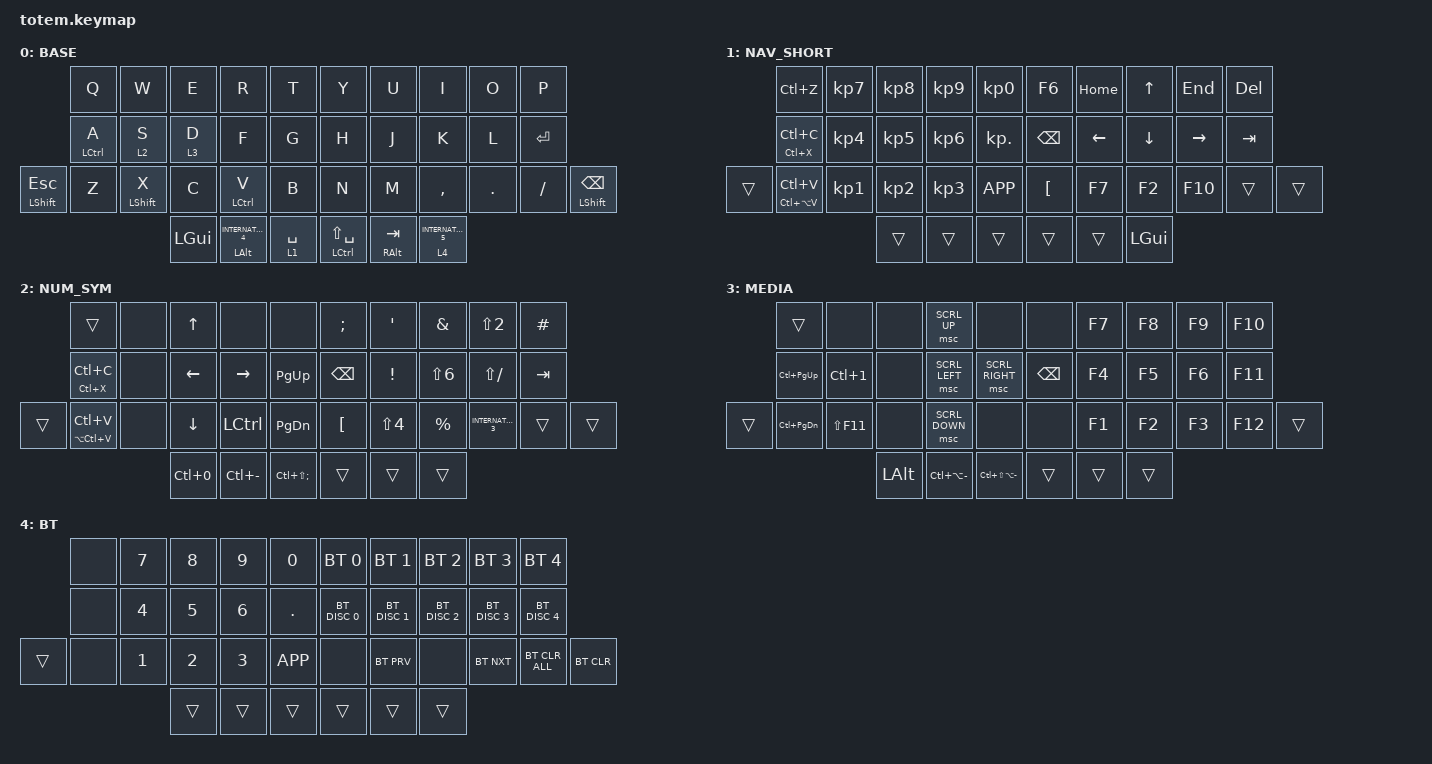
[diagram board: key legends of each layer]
//
//                                                        ▀▀▀▀▀     ▀▀▀▀▀          ▀▀█▀▀
//                                                        ▄▀▀▀▄  ▄  ▄▀▀▀▄  ▄  ▄▀▀▀▄  █  ▄▀▀▀▄
//                                                        █   █  █  █   █  █  █   █  █  █   █
//                                                         ▀▀▀   █   ▀▀▀   █   ▀▀▀   ▀   ▀▀▀
//                                                               █      ▄▄▄█▄▄▄    █   █  
//                                                               ▀      █  █  █     █▄█
//                                                             ▀▀▀▀▀    █  █  █      ▀
//                                                                      ▀  ▀  ▀
//
// ▄▄▄▄▄▄▄▄▄▄▄▄▄▄▄▄▄▄▄▄▄▄▄▄▄▄▄▄▄▄▄▄▄▄▄▄▄▄▄▄▄▄▄▄▄▄▄▄▄▄▄▄▄▄▄▄▄▄▄▄▄▄▄▄▄▄▄▄▄▄▄▄▄▄▄▄▄▄▄▄▄▄▄▄▄▄▄▄▄▄▄▄▄▄▄▄▄▄▄▄▄▄▄▄▄▄▄▄▄▄▄▄▄▄▄▄▄▄▄▄▄▄▄▄▄▄▄▄▄▄▄▄▄▄▄▄▄▄▄▄▄▄▄▄▄▄▄▄▄

#include <behaviors/rgbled_widget.dtsi>
#include <behaviors.dtsi>
#include <dt-bindings/zmk/bt.h>
#include <dt-bindings/zmk/keys.h>
#include <dt-bindings/zmk/pointing.h>

#define BASE 0
#define NAV  1
#define SYM  2
#define ADJ  3
#define TVP1 4
#define TVP2 5

&mt {
    quick-tap-ms = <100>;
    global-quick-tap;
    flavor = "tap-preferred";
    tapping-term-ms = <170>;
};

/ {
    combos {
        compatible = "zmk,combos";

        tab {
            bindings = <&kp TAB>;
            key-positions = <12 13>;
        };

        shifttab {
            bindings = <&kp LS(TAB)>;
            key-positions = <12 11>;
        };

        leftkakko {
            bindings = <&kp LS(N8)>;
            key-positions = <11 13>;
        };

        rightkakko {
            bindings = <&kp LS(N9)>;
            key-positions = <16 18>;
        };

        leftkakkojp {
            bindings = <&kp RBKT>;
            key-positions = <11 13 12>;
        };

        rightkakkojp {
            bindings = <&kp BSLH>;
            key-positions = <16 18 17>;
        };

        minus {
            bindings = <&kp MINUS>;
            key-positions = <16 17>;
        };

        plus {
            bindings = <&kp LS(SEMI)>;
            key-positions = <17 18>;
        };

        eq {
            bindings = <&kp LS(MINUS)>;
            key-positions = <7 6>;
        };

        asta {
            bindings = <&kp LS(SQT)>;
            key-positions = <7 8>;
        };

        underbar {
            bindings = <&kp LS(INTERNATIONAL_1)>;
            key-positions = <27 28>;
        };

        lang1 {
            bindings = <&kp LANG1>;
            key-positions = <35 16>;
        };

        lang2 {
            bindings = <&kp LANGUAGE_2>;
            key-positions = <35 15>;
        };
    };

    keymap {
        compatible = "zmk,keymap";

        // ▄▄▄▄▄▄▄▄▄▄▄▄▄▄▄▄▄▄▄▄▄▄▄▄▄▄▄▄▄▄▄▄▄▄▄▄▄▄▄▄▄▄▄▄▄▄▄▄▄▄▄▄▄▄▄▄▄▄▄▄▄▄▄▄▄▄▄▄▄▄▄▄▄▄▄▄▄▄▄▄▄▄▄▄▄▄▄▄▄▄▄▄▄▄▄▄▄▄▄▄▄▄▄▄▄▄▄▄▄▄▄▄▄▄▄▄▄▄▄▄▄▄▄▄▄▄▄▄▄▄▄▄▄▄▄▄▄▄▄▄▄▄▄▄▄▄▄▄▄

        base_layer {
            // ┏━━━━━━━━━━━━━━━━━━━━━━━━━━━━━━━━━━━━━━━┓

            label = "BASE";

            // ┗━━━━━━━━━━━━━━━━━━━━━━━━━━━━━━━━━━━━━━━┛
            //             ┏━━━━━━━━━━━┳━━━━━━━━━━━┳━━━━━━━━━━━┳━━━━━━━━━━━┳━━━━━━━━━━━┓   ┏━━━━━━━━━━━┳━━━━━━━━━━━┳━━━━━━━━━━━┳━━━━━━━━━━━┳━━━━━━━━━━━┓
            //             ┃     Q     ┃     W     ┃     F     ┃     P     ┃     B     ┃   ┃     J     ┃     L     ┃     U     ┃     Y     ┃     ;     ┃
            //             ┣━━━━━━━━━━━╋━━━━━━━━━━━╋━━━━━━━━━━━╋━━━━━━━━━━━╋━━━━━━━━━━━┫   ┣━━━━━━━━━━━╋━━━━━━━━━━━╋━━━━━━━━━━━╋━━━━━━━━━━━╋━━━━━━━━━━━┫
            //             ┃     A     ┃     R     ┃     S     ┃     T     ┃     G     ┃   ┃     M     ┃     N     ┃     E     ┃     I     ┃     O     ┃
            // ┏━━━━━━━━━━━╋━━━━━━━━━━━╋━━━━━━━━━━━╋━━━━━━━━━━━╋━━━━━━━━━━━╋━━━━━━━━━━━┫   ┣━━━━━━━━━━━╋━━━━━━━━━━━╋━━━━━━━━━━━╋━━━━━━━━━━━╋━━━━━━━━━━━╋━━━━━━━━━━━┓
            // ┃   BSPC    ┃     Z     ┃     X     ┃     C     ┃     D     ┃     V     ┃   ┃     K     ┃     M     ┃     ,     ┃     .     ┃     /     ┃     '     ┃
            // ┗━━━━━━━━━━━┻━━━━━━━━━━━┻━━━━━━━━━━━╋━━━━━━━━━━━╋━━━━━━━━━━━╋━━━━━━━━━━━┫   ┣━━━━━━━━━━━╋━━━━━━━━━━━╋━━━━━━━━━━━╋━━━━━━━━━━━┻━━━━━━━━━━━┻━━━━━━━━━━━┛
            //                                     ┃   BSPC    ┃    TAB    ┃    DEL    ┃   ┃   BSPC    ┃    SPC    ┃   ENTER   ┃
            //                                     ┗━━━━━━━━━━━┻━━━━━━━━━━━┻━━━━━━━━━━━┛   ┗━━━━━━━━━━━┻━━━━━━━━━━━┻━━━━━━━━━━━┛

            bindings = <
               &kp Q        &kp W        &kp E     &kp R                     &kp T          &kp Y                &kp U         &kp I                  &kp O    &kp P
               &mt LCTRL A  &lt 2 S      &lt 3 D   &kp F                     &kp G          &kp H                &kp J         &kp K                  &kp L    &kp ENTER
&mt LSHFT ESC  &kp Z        &mt LSHFT X  &kp C     &mt LCTRL V               &kp B          &kp N                &kp M         &kp COMMA              &kp DOT  &kp FSLH   &mt LSHFT BACKSPACE
                                         &kp LGUI  &mt LALT INTERNATIONAL_4  &lt 1 SPACE    &mt LCTRL LS(SPACE)  &mt RALT TAB  &lt 4 INTERNATIONAL_5
            >;
        };

        // ▄▄▄▄▄▄▄▄▄▄▄▄▄▄▄▄▄▄▄▄▄▄▄▄▄▄▄▄▄▄▄▄▄▄▄▄▄▄▄▄▄▄▄▄▄▄▄▄▄▄▄▄▄▄▄▄▄▄▄▄▄▄▄▄▄▄▄▄▄▄▄▄▄▄▄▄▄▄▄▄▄▄▄▄▄▄▄▄▄▄▄▄▄▄▄▄▄▄▄▄▄▄▄▄▄▄▄▄▄▄▄▄▄▄▄▄▄▄▄▄▄▄▄▄▄▄▄▄▄▄▄▄▄▄▄▄▄▄▄▄▄▄▄▄▄▄▄▄▄

        nav_short_layer {
            // ┏━━━━━━━━━━━━━━━━━━━━━━━━━━━━━━━━━━━━━━━┓

            label = "NAV_SHORT";

            // ┗━━━━━━━━━━━━━━━━━━━━━━━━━━━━━━━━━━━━━━━┛
            //             ┏━━━━━━━━━━━┳━━━━━━━━━━━┳━━━━━━━━━━━┳━━━━━━━━━━━┳━━━━━━━━━━━┓   ┏━━━━━━━━━━━┳━━━━━━━━━━━┳━━━━━━━━━━━┳━━━━━━━━━━━┳━━━━━━━━━━━┓
            //             ┃           ┃           ┃     UP    ┃           ┃     {     ┃   ┃     }     ┃     7     ┃     8     ┃     9     ┃     +     ┃
            //             ┣━━━━━━━━━━━╋━━━━━━━━━━━╋━━━━━━━━━━━╋━━━━━━━━━━━╋━━━━━━━━━━━┫   ┣━━━━━━━━━━━╋━━━━━━━━━━━╋━━━━━━━━━━━╋━━━━━━━━━━━╋━━━━━━━━━━━┫
            //             ┃   SHIFT   ┃   LEFT    ┃    DOWN   ┃   RIGHT   ┃     [     ┃   ┃     ]     ┃     4     ┃     5     ┃     6     ┃     -     ┃
            // ┏━━━━━━━━━━━╋━━━━━━━━━━━╋━━━━━━━━━━━╋━━━━━━━━━━━╋━━━━━━━━━━━╋━━━━━━━━━━━┫   ┣━━━━━━━━━━━╋━━━━━━━━━━━╋━━━━━━━━━━━╋━━━━━━━━━━━╋━━━━━━━━━━━╋━━━━━━━━━━━┓
            // ┃           ┃           ┃   P UP    ┃  C LOCK   ┃  P DOWN   ┃     (     ┃   ┃     )     ┃     1     ┃     2     ┃     3     ┃     *     ┃           ┃
            // ┗━━━━━━━━━━━┻━━━━━━━━━━━┻━━━━━━━━━━━╋━━━━━━━━━━━╋━━━━━━━━━━━╋━━━━━━━━━━━┫   ┣━━━━━━━━━━━╋━━━━━━━━━━━╋━━━━━━━━━━━╋━━━━━━━━━━━┻━━━━━━━━━━━┻━━━━━━━━━━━┛
            //                                     ┃           ┃    TAB    ┃    SPC    ┃   ┃    DEL    ┃     0     ┃           ┃
            //                                     ┗━━━━━━━━━━━┻━━━━━━━━━━━┻━━━━━━━━━━━┛   ┗━━━━━━━━━━━┻━━━━━━━━━━━┻━━━━━━━━━━━┛

            bindings = <
        &kp LC(Z)            &kp KP_NUMBER_7  &kp KP_NUMBER_8  &kp KP_NUMBER_9  &kp KP_NUMBER_0    &kp F6            &kp HOME        &kp UP_ARROW    &kp END          &kp DEL
        &mt LC(X) LC(C)      &kp KP_NUMBER_4  &kp KP_NUMBER_5  &kp KP_NUMBER_6  &kp KP_DOT         &kp BACKSPACE     &kp LEFT_ARROW  &kp DOWN_ARROW  &kp RIGHT_ARROW  &kp TAB
&trans  &mt LC(LA(V)) LC(V)  &kp KP_NUMBER_1  &kp KP_NUMBER_2  &kp KP_NUMBER_3  &kp K_APP          &kp LEFT_BRACKET  &kp F7          &kp F2          &kp F10          &trans   &trans
                                              &trans           &trans           &trans             &trans            &trans          &kp LEFT_GUI
            >;
        };

        // ▄▄▄▄▄▄▄▄▄▄▄▄▄▄▄▄▄▄▄▄▄▄▄▄▄▄▄▄▄▄▄▄▄▄▄▄▄▄▄▄▄▄▄▄▄▄▄▄▄▄▄▄▄▄▄▄▄▄▄▄▄▄▄▄▄▄▄▄▄▄▄▄▄▄▄▄▄▄▄▄▄▄▄▄▄▄▄▄▄▄▄▄▄▄▄▄▄▄▄▄▄▄▄▄▄▄▄▄▄▄▄▄▄▄▄▄▄▄▄▄▄▄▄▄▄▄▄▄▄▄▄▄▄▄▄▄▄▄▄▄▄▄▄▄▄▄▄▄▄

        num_sym_layer {
            // ┏━━━━━━━━━━━━━━━━━━━━━━━━━━━━━━━━━━━━━━━┓

            label = "NUM_SYM";

            // ┗━━━━━━━━━━━━━━━━━━━━━━━━━━━━━━━━━━━━━━━┛
            //             ┏━━━━━━━━━━━┳━━━━━━━━━━━┳━━━━━━━━━━━┳━━━━━━━━━━━┳━━━━━━━━━━━┓   ┏━━━━━━━━━━━┳━━━━━━━━━━━┳━━━━━━━━━━━┳━━━━━━━━━━━┳━━━━━━━━━━━┓
            //             ┃     !     ┃     @     ┃     #     ┃     $     ┃     %     ┃   ┃     ˆ     ┃     &     ┃     Ü     ┃     '     ┃     "     ┃
            //             ┣━━━━━━━━━━━╋━━━━━━━━━━━╋━━━━━━━━━━━╋━━━━━━━━━━━╋━━━━━━━━━━━┫   ┣━━━━━━━━━━━╋━━━━━━━━━━━╋━━━━━━━━━━━╋━━━━━━━━━━━╋━━━━━━━━━━━┫
            //             ┃     Ä     ┃           ┃    SZ     ┃           ┃           ┃   ┃   MUTE    ┃   YEN     ┃   EURO    ┃  POUND    ┃     Ö     ┃
            // ┏━━━━━━━━━━━╋━━━━━━━━━━━╋━━━━━━━━━━━╋━━━━━━━━━━━╋━━━━━━━━━━━╋━━━━━━━━━━━┫   ┣━━━━━━━━━━━╋━━━━━━━━━━━╋━━━━━━━━━━━╋━━━━━━━━━━━╋━━━━━━━━━━━╋━━━━━━━━━━━┓
            // ┃           ┃  EMAIL1   ┃  EMAIL2   ┃           ┃           ┃           ┃   ┃   VOL-    ┃   VOL+    ┃   LAST    ┃   NEXT    ┃     \     ┃           ┃
            // ┗━━━━━━━━━━━┻━━━━━━━━━━━┻━━━━━━━━━━━╋━━━━━━━━━━━╋━━━━━━━━━━━╋━━━━━━━━━━━┫   ┣━━━━━━━━━━━╋━━━━━━━━━━━╋━━━━━━━━━━━╋━━━━━━━━━━━┻━━━━━━━━━━━┻━━━━━━━━━━━┛
            //                                     ┃           ┃    GIF    ┃    ADJ    ┃   ┃           ┃           ┃           ┃
            //                                     ┗━━━━━━━━━━━┻━━━━━━━━━━━┻━━━━━━━━━━━┛   ┗━━━━━━━━━━━┻━━━━━━━━━━━┻━━━━━━━━━━━┛

            bindings = <
        &trans               &none  &kp UP_ARROW      &none            &none               &kp SEMI       &kp SQT           &kp AMPS          &kp LS(NUMBER_2)     &kp HASH
        &mt LC(X) LC(C)      &none  &kp LEFT_ARROW    &kp RIGHT_ARROW  &kp PG_UP           &kp BACKSPACE  &kp EXCL          &kp LS(NUMBER_6)  &kp LS(FSLH)         &kp TAB
&trans  &mt LA(LC(V)) LC(V)  &none  &kp DOWN_ARROW    &kp LCTRL        &kp PAGE_DOWN       &kp LBKT       &kp LS(NUMBER_4)  &kp PRCNT         &kp INTERNATIONAL_3  &trans    &trans
                                    &kp LC(NUMBER_0)  &kp LC(MINUS)    &kp LC(LS(SEMI))    &trans         &trans            &trans
            >;
        };

        // ▄▄▄▄▄▄▄▄▄▄▄▄▄▄▄▄▄▄▄▄▄▄▄▄▄▄▄▄▄▄▄▄▄▄▄▄▄▄▄▄▄▄▄▄▄▄▄▄▄▄▄▄▄▄▄▄▄▄▄▄▄▄▄▄▄▄▄▄▄▄▄▄▄▄▄▄▄▄▄▄▄▄▄▄▄▄▄▄▄▄▄▄▄▄▄▄▄▄▄▄▄▄▄▄▄▄▄▄▄▄▄▄▄▄▄▄▄▄▄▄▄▄▄▄▄▄▄▄▄▄▄▄▄▄▄▄▄▄▄▄▄▄▄▄▄▄▄▄▄

        media_layer {
            // ┏━━━━━━━━━━━━━━━━━━━━━━━━━━━━━━━━━━━━━━━┓

            label = "MEDIA";

            // ┗━━━━━━━━━━━━━━━━━━━━━━━━━━━━━━━━━━━━━━━┛
            //             ┏━━━━━━━━━━━┳━━━━━━━━━━━┳━━━━━━━━━━━┳━━━━━━━━━━━┳━━━━━━━━━━━┓   ┏━━━━━━━━━━━┳━━━━━━━━━━━┳━━━━━━━━━━━┳━━━━━━━━━━━┳━━━━━━━━━━━┓
            //             ┃   RESET   ┃ BT CLEAR  ┃  OUT TOG  ┃           ┃           ┃   ┃           ┃    F7     ┃    F8     ┃    F9     ┃    F12    ┃
            //             ┣━━━━━━━━━━━╋━━━━━━━━━━━╋━━━━━━━━━━━╋━━━━━━━━━━━╋━━━━━━━━━━━┫   ┣━━━━━━━━━━━╋━━━━━━━━━━━╋━━━━━━━━━━━╋━━━━━━━━━━━╋━━━━━━━━━━━┫
            //             ┃ BOOTLOAD  ┃ BT NEXT   ┃           ┃           ┃           ┃   ┃           ┃    F4     ┃    F5     ┃    F6     ┃    F11    ┃
            // ┏━━━━━━━━━━━╋━━━━━━━━━━━╋━━━━━━━━━━━╋━━━━━━━━━━━╋━━━━━━━━━━━╋━━━━━━━━━━━┫   ┣━━━━━━━━━━━╋━━━━━━━━━━━╋━━━━━━━━━━━╋━━━━━━━━━━━╋━━━━━━━━━━━╋━━━━━━━━━━━┓
            // ┃           ┃           ┃ BT PREV   ┃           ┃           ┃           ┃   ┃           ┃    F1     ┃    F2     ┃    F3     ┃    F10    ┃           ┃
            // ┗━━━━━━━━━━━┻━━━━━━━━━━━┻━━━━━━━━━━━╋━━━━━━━━━━━╋━━━━━━━━━━━╋━━━━━━━━━━━┫   ┣━━━━━━━━━━━╋━━━━━━━━━━━╋━━━━━━━━━━━╋━━━━━━━━━━━┻━━━━━━━━━━━┻━━━━━━━━━━━┛
            //                                     ┃           ┃           ┃           ┃   ┃           ┃           ┃           ┃
            //                                     ┗━━━━━━━━━━━┻━━━━━━━━━━━┻━━━━━━━━━━━┛   ┗━━━━━━━━━━━┻━━━━━━━━━━━┻━━━━━━━━━━━┛

            bindings = <
        &trans             &none             &none     &msc SCRL_UP       &none                    &none     &kp F7  &kp F8  &kp F9  &kp F10
        &kp LC(PG_UP)      &kp LC(NUMBER_1)  &none     &msc SCRL_LEFT     &msc SCRL_RIGHT          &kp BSPC  &kp F4  &kp F5  &kp F6  &kp F11
&trans  &kp LC(PAGE_DOWN)  &kp LS(F11)       &none     &msc SCRL_DOWN     &none                    &none     &kp F1  &kp F2  &kp F3  &kp F12  &trans
                                             &kp LALT  &kp LC(LA(MINUS))  &kp LC(LS(LA(MINUS)))    &trans    &trans  &trans
            >;
        };

        // ▄▄▄▄▄▄▄▄▄▄▄▄▄▄▄▄▄▄▄▄▄▄▄▄▄▄▄▄▄▄▄▄▄▄▄▄▄▄▄▄▄▄▄▄▄▄▄▄▄▄▄▄▄▄▄▄▄▄▄▄▄▄▄▄▄▄▄▄▄▄▄▄▄▄▄▄▄▄▄▄▄▄▄▄▄▄▄▄▄▄▄▄▄▄▄▄▄▄▄▄▄▄▄▄▄▄▄▄▄▄▄▄▄▄▄▄▄▄▄▄▄▄▄▄▄▄▄▄▄▄▄▄▄▄▄▄▄▄▄▄▄▄▄▄▄▄▄▄▄
        // ▄▄▄▄▄▄▄▄▄▄▄▄▄▄▄▄▄▄▄▄▄▄▄▄▄▄▄▄▄▄▄▄▄▄▄▄▄▄▄▄▄▄▄▄▄▄▄▄▄▄▄▄▄▄▄▄▄▄▄▄▄▄▄▄▄▄▄▄▄▄▄▄▄▄▄▄▄▄▄▄▄▄▄▄▄▄▄▄▄▄▄▄▄▄▄▄▄▄▄▄▄▄▄▄▄▄▄▄▄▄▄▄▄▄▄▄▄▄▄▄▄▄▄▄▄▄▄▄▄▄▄▄▄▄▄▄▄▄▄▄▄▄▄▄▄▄▄▄▄

        bt_layer {
            bindings = <
        &none  &kp N7  &kp N8  &kp N9  &kp N0       &bt BT_SEL 0   &bt BT_SEL 1   &bt BT_SEL 2   &bt BT_SEL 3   &bt BT_SEL 4
        &none  &kp N4  &kp N5  &kp N6  &kp DOT      &bt BT_DISC 0  &bt BT_DISC 1  &bt BT_DISC 2  &bt BT_DISC 3  &bt BT_DISC 4
&trans  &none  &kp N1  &kp N2  &kp N3  &kp K_APP    &none          &bt BT_PRV     &none          &bt BT_NXT     &bt BT_CLR_ALL  &bt BT_CLR
                       &trans  &trans  &trans       &trans         &trans         &trans
            >;

            label = "BT";
        };
    };
};
